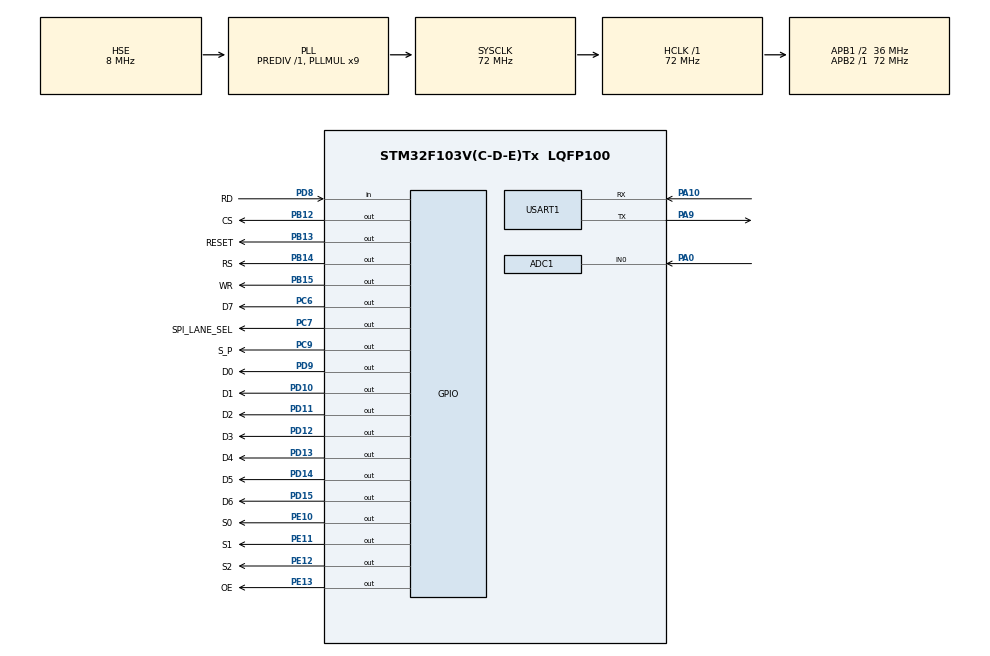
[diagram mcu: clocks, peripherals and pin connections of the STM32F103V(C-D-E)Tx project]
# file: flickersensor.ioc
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ADC1.Channel-0\#ChannelRegularConversion=ADC_CHANNEL_0
ADC1.ContinuousConvMode=DISABLE
ADC1.DataAlign=ADC_DATAALIGN_RIGHT
ADC1.DiscontinuousConvMode=DISABLE
ADC1.EnableAnalogWatchDog=false
ADC1.EnableRegularConversion=ENABLE
ADC1.ExternalTrigConv=ADC_EXTERNALTRIGCONV_T1_CC1
ADC1.InjNumberOfConversion=0
ADC1.NbrOfConversion=1
ADC1.NbrOfConversionFlag=1
ADC1.Rank-0\#ChannelRegularConversion=1
ADC1.SamplingTime-0\#ChannelRegularConversion=ADC_SAMPLETIME_1CYCLE_5
ADC1.ScanConvMode=ADC_SCAN_DISABLE
ADC1.master=1
Dma.ADC1.0.Direction=DMA_PERIPH_TO_MEMORY
Dma.ADC1.0.Instance=DMA1_Channel1
Dma.ADC1.0.MemDataAlignment=DMA_MDATAALIGN_HALFWORD
Dma.ADC1.0.MemInc=DMA_MINC_ENABLE
Dma.ADC1.0.Mode=DMA_NORMAL
Dma.ADC1.0.PeriphDataAlignment=DMA_PDATAALIGN_HALFWORD
Dma.ADC1.0.PeriphInc=DMA_PINC_DISABLE
Dma.ADC1.0.Priority=DMA_PRIORITY_LOW
Dma.Request0=ADC1
Dma.Request1=USART1_RX
Dma.USART1_RX.1.Direction=DMA_PERIPH_TO_MEMORY
Dma.USART1_RX.1.Instance=DMA1_Channel5
Dma.USART1_RX.1.MemDataAlignment=DMA_MDATAALIGN_BYTE
Dma.USART1_RX.1.MemInc=DMA_MINC_ENABLE
Dma.USART1_RX.1.Mode=DMA_NORMAL
Dma.USART1_RX.1.PeriphDataAlignment=DMA_PDATAALIGN_BYTE
Dma.USART1_RX.1.PeriphInc=DMA_PINC_DISABLE
Dma.USART1_RX.1.Priority=DMA_PRIORITY_LOW
Mcu.Family=STM32F1
Mcu.Name=STM32F103V(C-D-E)Tx
Mcu.Package=LQFP100
NVIC.DMA1_Channel1_IRQn=true\:0\:0\:true\:false\:true
NVIC.DMA1_Channel5_IRQn=true\:2\:0\:true\:false\:true
NVIC.PriorityGroup=NVIC_PRIORITYGROUP_4
NVIC.USART1_IRQn=true\:1\:0\:true\:false\:true
OSC_IN.Mode=HSE-External-Oscillator
OSC_IN.Signal=RCC_OSC_IN
OSC_OUT.Mode=HSE-External-Oscillator
OSC_OUT.Signal=RCC_OSC_OUT
PA0-WKUP.Signal=ADCx_IN0
PA10.Mode=Asynchronous
PA10.Signal=USART1_RX
PA13.Mode=Serial_Wire
PA13.Signal=SYS_JTMS-SWDIO
PA14.Mode=Serial_Wire
PA14.Signal=SYS_JTCK-SWCLK
PA8.Signal=S_TIM1_CH1
PA9.Mode=Asynchronous
PA9.Signal=USART1_TX
PB12.GPIO_Label=CS
PB12.Signal=GPIO_Output
PB13.GPIO_Label=RESET
PB13.Signal=GPIO_Output
PB14.GPIO_Label=RS
PB14.Signal=GPIO_Output
PB15.GPIO_Label=WR
PB15.Signal=GPIO_Output
PC6.GPIO_Label=D7
PC6.Signal=GPIO_Output
PC7.GPIO_Label=SPI_LANE_SEL
PC7.Signal=GPIO_Output
PC9.GPIO_Label=S_P
PC9.Signal=GPIO_Output
PD10.GPIO_Label=D1
PD10.Signal=GPIO_Output
PD11.GPIO_Label=D2
PD11.Signal=GPIO_Output
PD12.GPIO_Label=D3
PD12.Signal=GPIO_Output
PD13.GPIO_Label=D4
PD13.Signal=GPIO_Output
PD14.GPIO_Label=D5
PD14.Signal=GPIO_Output
PD15.GPIO_Label=D6
PD15.Signal=GPIO_Output
PD8.GPIO_Label=RD
PD8.GPIO_PuPd=GPIO_PULLUP
PD8.Signal=GPIO_Input
PD9.GPIO_Label=D0
PD9.Signal=GPIO_Output
PE10.GPIO_Label=S0
PE10.Signal=GPIO_Output
PE11.GPIO_Label=S1
PE11.Signal=GPIO_Output
PE12.GPIO_Label=S2
PE12.Signal=GPIO_Output
PE13.GPIO_Label=OE
PE13.Signal=GPIO_Output
ProjectManager.HeapSize=0x200
ProjectManager.StackSize=0x400
ProjectManager.TargetToolchain=MDK-ARM V5
RCC.ADCPresc=RCC_ADCPCLK2_DIV6
RCC.AHBFreq_Value=72000000
RCC.APB1CLKDivider=RCC_HCLK_DIV2
RCC.APB1Freq_Value=36000000
RCC.APB1TimFreq_Value=72000000
RCC.APB2Freq_Value=72000000
RCC.APB2TimFreq_Value=72000000
RCC.HCLKFreq_Value=72000000
RCC.PLLMUL=RCC_PLL_MUL9
RCC.PLLSourceVirtual=RCC_PLLSOURCE_HSE
RCC.SYSCLKFreq_VALUE=72000000
RCC.SYSCLKSource=RCC_SYSCLKSOURCE_PLLCLK
RCC.USBFreq_Value=72000000
SH.ADCx_IN0.0=ADC1_IN0,IN0
SH.S_TIM1_CH1.0=TIM1_CH1
TIM1.Channel-Output\ Compare1\ No\ Output=TIM_CHANNEL_1
TIM1.Period=5000
TIM1.Prescaler=71
TIM1.Pulse-Output\ Compare1\ No\ Output=2500
TIM1.TIM_MasterOutputTrigger=TIM_TRGO_OC1REF
USART1.VirtualMode=VM_ASYNC
VP_TIM1_VS_ClockSourceINT.Mode=Internal
VP_TIM1_VS_no_output1.Mode=Output Compare1 No Output
board=flickersensor

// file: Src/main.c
/**
 ******************************************************************************
 * File Name          : main.c
 * Description        : Main program body
 ******************************************************************************
 *
 * COPYRIGHT(c) 2017 STMicroelectronics
 *
 * Redistribution and use in source and binary forms, with or without modification,
 * are permitted provided that the following conditions are met:
 *   1. Redistributions of source code must retain the above copyright notice,
 *      this list of conditions and the following disclaimer.
 *   2. Redistributions in binary form must reproduce the above copyright notice,
 *      this list of conditions and the following disclaimer in the documentation
 *      and/or other materials provided with the distribution.
 *   3. Neither the name of STMicroelectronics nor the names of its contributors
 *      may be used to endorse or promote products derived from this software
 *      without specific prior written permission.
 *
 * THIS SOFTWARE IS PROVIDED BY THE COPYRIGHT HOLDERS AND CONTRIBUTORS "AS IS"
 * AND ANY EXPRESS OR IMPLIED WARRANTIES, INCLUDING, BUT NOT LIMITED TO, THE
 * IMPLIED WARRANTIES OF MERCHANTABILITY AND FITNESS FOR A PARTICULAR PURPOSE ARE
 * DISCLAIMED. IN NO EVENT SHALL THE COPYRIGHT HOLDER OR CONTRIBUTORS BE LIABLE
 * FOR ANY DIRECT, INDIRECT, INCIDENTAL, SPECIAL, EXEMPLARY, OR CONSEQUENTIAL
 * DAMAGES (INCLUDING, BUT NOT LIMITED TO, PROCUREMENT OF SUBSTITUTE GOODS OR
 * SERVICES; LOSS OF USE, DATA, OR PROFITS; OR BUSINESS INTERRUPTION) HOWEVER
 * CAUSED AND ON ANY THEORY OF LIABILITY, WHETHER IN CONTRACT, STRICT LIABILITY,
 * OR TORT (INCLUDING NEGLIGENCE OR OTHERWISE) ARISING IN ANY WAY OUT OF THE USE
 * OF THIS SOFTWARE, EVEN IF ADVISED OF THE POSSIBILITY OF SUCH DAMAGE.
 *
 ******************************************************************************
 */
#include "main.h"
#include "stm32f1xx_hal.h"

/* USER CODE BEGIN Includes */
#include "acquire.h"
#include "sysconfig.h"
#include "flicker.h"
#include "lcd.h"
#include "stdio.h"
#include "string.h"
#include "math.h"
#include "com.h"
/* USER CODE END Includes */

ADC_HandleTypeDef hadc1;
DMA_HandleTypeDef hdma_adc1;

TIM_HandleTypeDef htim1;

UART_HandleTypeDef huart1;
DMA_HandleTypeDef hdma_usart1_rx;

/* USER CODE BEGIN PV */
/* Private variables ---------------------------------------------------------*/

/* USER CODE END PV */

void SystemClock_Config(void);
void Error_Handler(void);
static void MX_GPIO_Init(void);
static void MX_DMA_Init(void);
static void MX_USART1_UART_Init(void);
static void MX_ADC1_Init(void);
static void MX_TIM1_Init(void);

/* USER CODE BEGIN PFP */
/* Private function prototypes -----------------------------------------------*/
#define  LIGHT_STEEL_BLUE    46651
#define  DEEP_SKY_BLUE       1535
#define  MINERAL_BLUE        627
#define  SKY_BLUE            34429
#define  DARK_CYAN           1105

/* USER CODE END PFP */

/* USER CODE BEGIN 0 */
static uint8_t ChannelIndex = 7;
static uint8_t TimeToSend   = 0;

/* USER CODE END 0 */

int main(void)
{
  /* USER CODE BEGIN 1 */
  char buff[20];
  float flicker_value = 0;
  float last_value    = 1;
  float log_flicker;

  /* USER CODE END 1 */

  /* MCU Configuration----------------------------------------------------------*/

  /* Reset of all peripherals, Initializes the Flash interface and the Systick. */
  HAL_Init();

  /* Configure the system clock */
  SystemClock_Config();

  /* Initialize all configured peripherals */
  MX_GPIO_Init();
  MX_DMA_Init();
  MX_USART1_UART_Init();
  MX_ADC1_Init();
  MX_TIM1_Init();

  /* USER CODE BEGIN 2 */
  LCD_Init();
  BackColor = DARK_CYAN;
  LCD_WriteFull(DARK_CYAN);//0x5D7A

  FontColor = 0xffff;

  LCD_ShowChar2(100, 5, '%');
  LCD_ShowString2(90, 36, "dB");

  FontColor = DEEP_SKY_BLUE;
  LCD_Fill(0, 4);
  LCD_Fill(70, 75);
  LCD_Fill(LCD_YSIZE - 5, LCD_YSIZE);

  FontColor = DARK_CYAN;
  LCD_Fill(76, LCD_YSIZE - 4);

  FontColor = SKY_BLUE;
  LCD_DrawLine(0, 4, LCD_XSIZE, 4);
  LCD_DrawLine(0, 70, LCD_XSIZE, 70);
  LCD_DrawLine(0, 75, LCD_XSIZE, 75);
  LCD_DrawLine(0, LCD_XSIZE - 5, LCD_XSIZE, LCD_XSIZE - 5);

  FontColor = 0xffff;
  LCD_ShowString(4, 79, "VCOM:", 12);
  LCD_ShowString(4, 94, "ID:", 12);
  LCD_ShowString(4, 108, "Times:", 12);

  FontColor = 0xffe0;
  if (CheckSecurity() == false)
  {
    FontColor = BackColor;
    while (1)
    {
    }
  }

  if (HAL_UART_Receive_DMA(&huart1, RXTemp, BUFFER_SIZE) != HAL_OK)
  {
    while (1)
    {
    }
  }

  SelChannel(ChannelIndex);
  AcquireStart();
  /* USER CODE END 2 */

  /* Infinite loop */
  /* USER CODE BEGIN WHILE */
  while (1)
  {
    if (DataReady)
    {
      flicker_value = GetFlickerValue(Buffer0, SAMPLE_SIZE);
      if (flicker_value == (float)OVERFLOW_ERROR)
      {
        if (ChannelIndex != 0)
        {
          ChannelIndex--;
        }
        last_value = flicker_value;
      }
      else if (flicker_value == (float)DC_ERROR)
      {
        if (ChannelIndex != 7)
        {
          ChannelIndex++;
        }
        last_value = flicker_value;
      }
      else
      {
        flicker_value *= 1.3;//calibrate
        if(TimeToSend>1)
        {
          SendFlicker((uint16_t)(flicker_value * 1000));
          TimeToSend = 0;
        }
      }
      SelChannel(ChannelIndex);
      DataReady = 0;
      AcquireStart();
    }
    else if ((flicker_value != last_value)&&(TimeToSend==0))
    {
      uint8_t len;

      last_value = flicker_value;

      memset(buff, 0, sizeof(buff));
      sprintf(buff, "%.1f ", (float)flicker_value * 100);
      len = strlen(buff);
      while (len < 5)
      {
        buff[len++] = ' ';
      }
      LCD_ShowString2(4, 5, (uint8_t *)buff);

      log_flicker = 20 * log10((float)flicker_value);

      memset(buff, 0, sizeof(buff));
      sprintf(buff, "%.1f", log_flicker);
      len = strlen(buff);
      while (len < 5)
      {
        buff[len++] = ' ';
      }
      LCD_ShowString2(4, 36, (uint8_t *)buff);
    }

    if (TaskID != TASK_NULL)
    {
      if (TaskID == FLICKER_VALUE)
      {
        TimeToSend++;
      }
      else
      {
        LCD_ShowString(64, 79, "    ", 12);
        LCD_ShowString(64, 94, "    ", 12);
        LCD_ShowString(64, 108, "    ", 12);

        memset(buff, 0, sizeof(buff));
        sprintf(buff, "0x%X", VCOM);
        LCD_ShowString(64, 79, (uint8_t *)buff, 12);
        sprintf(buff, "0x%X", ID);
        LCD_ShowString(64, 94, (uint8_t *)buff, 12);
        sprintf(buff, "%d", Times);
        LCD_ShowString(64, 108, (uint8_t *)buff, 12);
      }
      TaskID = TASK_NULL;
    }
    /* USER CODE END WHILE */

  }
}

/** System Clock Configuration
 */
void SystemClock_Config(void)
{
  RCC_OscInitTypeDef RCC_OscInitStruct;
  RCC_ClkInitTypeDef RCC_ClkInitStruct;
  RCC_PeriphCLKInitTypeDef PeriphClkInit;

  /**Initializes the CPU, AHB and APB busses clocks
   */
  RCC_OscInitStruct.OscillatorType = RCC_OSCILLATORTYPE_HSE;
  RCC_OscInitStruct.HSEState       = RCC_HSE_ON;
  RCC_OscInitStruct.HSEPredivValue = RCC_HSE_PREDIV_DIV1;
  RCC_OscInitStruct.HSIState       = RCC_HSI_ON;
  RCC_OscInitStruct.PLL.PLLState   = RCC_PLL_ON;
  RCC_OscInitStruct.PLL.PLLSource  = RCC_PLLSOURCE_HSE;
  RCC_OscInitStruct.PLL.PLLMUL     = RCC_PLL_MUL9;
  if (HAL_RCC_OscConfig(&RCC_OscInitStruct) != HAL_OK)
  {
    Error_Handler();
  }

  /**Initializes the CPU, AHB and APB busses clocks
   */
  RCC_ClkInitStruct.ClockType      = RCC_CLOCKTYPE_HCLK | RCC_CLOCKTYPE_SYSCLK | RCC_CLOCKTYPE_PCLK1 | RCC_CLOCKTYPE_PCLK2;
  RCC_ClkInitStruct.SYSCLKSource   = RCC_SYSCLKSOURCE_PLLCLK;
  RCC_ClkInitStruct.AHBCLKDivider  = RCC_SYSCLK_DIV1;
  RCC_ClkInitStruct.APB1CLKDivider = RCC_HCLK_DIV2;
  RCC_ClkInitStruct.APB2CLKDivider = RCC_HCLK_DIV1;

  if (HAL_RCC_ClockConfig(&RCC_ClkInitStruct, FLASH_LATENCY_2) != HAL_OK)
  {
    Error_Handler();
  }

  PeriphClkInit.PeriphClockSelection = RCC_PERIPHCLK_ADC;
  PeriphClkInit.AdcClockSelection    = RCC_ADCPCLK2_DIV6;
  if (HAL_RCCEx_PeriphCLKConfig(&PeriphClkInit) != HAL_OK)
  {
    Error_Handler();
  }

  /**Configure the Systick interrupt time
   */
  HAL_SYSTICK_Config(HAL_RCC_GetHCLKFreq() / 1000);

  /**Configure the Systick
   */
  HAL_SYSTICK_CLKSourceConfig(SYSTICK_CLKSOURCE_HCLK);

  /* SysTick_IRQn interrupt configuration */
  HAL_NVIC_SetPriority(SysTick_IRQn, 0, 0);
}

/* ADC1 init function */
static void MX_ADC1_Init(void)
{
  ADC_ChannelConfTypeDef sConfig;

  /**Common config
   */
  hadc1.Instance                   = ADC1;
  hadc1.Init.ScanConvMode          = ADC_SCAN_DISABLE;
  hadc1.Init.ContinuousConvMode    = DISABLE;
  hadc1.Init.DiscontinuousConvMode = DISABLE;
  hadc1.Init.ExternalTrigConv      = ADC_EXTERNALTRIGCONV_T1_CC1;
  hadc1.Init.DataAlign             = ADC_DATAALIGN_RIGHT;
  hadc1.Init.NbrOfConversion       = 1;
  if (HAL_ADC_Init(&hadc1) != HAL_OK)
  {
    Error_Handler();
  }

  /**Configure Regular Channel
   */
  sConfig.Channel      = ADC_CHANNEL_0;
  sConfig.Rank         = 1;
  sConfig.SamplingTime = ADC_SAMPLETIME_1CYCLE_5;
  if (HAL_ADC_ConfigChannel(&hadc1, &sConfig) != HAL_OK)
  {
    Error_Handler();
  }
}

/* TIM1 init function */
static void MX_TIM1_Init(void)
{
  TIM_ClockConfigTypeDef sClockSourceConfig;
  TIM_MasterConfigTypeDef sMasterConfig;
  TIM_OC_InitTypeDef sConfigOC;
  TIM_BreakDeadTimeConfigTypeDef sBreakDeadTimeConfig;

  htim1.Instance               = TIM1;
  htim1.Init.Prescaler         = 72 - 1;
  htim1.Init.CounterMode       = TIM_COUNTERMODE_UP;
  htim1.Init.Period            = 1000;
  htim1.Init.ClockDivision     = TIM_CLOCKDIVISION_DIV1;
  htim1.Init.RepetitionCounter = 0;
  if (HAL_TIM_Base_Init(&htim1) != HAL_OK)
  {
    Error_Handler();
  }

  sClockSourceConfig.ClockSource = TIM_CLOCKSOURCE_INTERNAL;
  if (HAL_TIM_ConfigClockSource(&htim1, &sClockSourceConfig) != HAL_OK)
  {
    Error_Handler();
  }

  if (HAL_TIM_OC_Init(&htim1) != HAL_OK)
  {
    Error_Handler();
  }

  sMasterConfig.MasterOutputTrigger = TIM_TRGO_OC1REF;
  sMasterConfig.MasterSlaveMode     = TIM_MASTERSLAVEMODE_DISABLE;
  if (HAL_TIMEx_MasterConfigSynchronization(&htim1, &sMasterConfig) != HAL_OK)
  {
    Error_Handler();
  }

  sConfigOC.OCMode       = TIM_OCMODE_PWM1;
  sConfigOC.Pulse        = 500;
  sConfigOC.OCPolarity   = TIM_OCPOLARITY_HIGH;
  sConfigOC.OCNPolarity  = TIM_OCNPOLARITY_HIGH;
  sConfigOC.OCFastMode   = TIM_OCFAST_DISABLE;
  sConfigOC.OCIdleState  = TIM_OCIDLESTATE_RESET;
  sConfigOC.OCNIdleState = TIM_OCNIDLESTATE_RESET;
  if (HAL_TIM_OC_ConfigChannel(&htim1, &sConfigOC, TIM_CHANNEL_1) != HAL_OK)
  {
    Error_Handler();
  }

  sBreakDeadTimeConfig.OffStateRunMode  = TIM_OSSR_DISABLE;
  sBreakDeadTimeConfig.OffStateIDLEMode = TIM_OSSI_DISABLE;
  sBreakDeadTimeConfig.LockLevel        = TIM_LOCKLEVEL_OFF;
  sBreakDeadTimeConfig.DeadTime         = 0;
  sBreakDeadTimeConfig.BreakState       = TIM_BREAK_DISABLE;
  sBreakDeadTimeConfig.BreakPolarity    = TIM_BREAKPOLARITY_HIGH;
  sBreakDeadTimeConfig.AutomaticOutput  = TIM_AUTOMATICOUTPUT_DISABLE;
  if (HAL_TIMEx_ConfigBreakDeadTime(&htim1, &sBreakDeadTimeConfig) != HAL_OK)
  {
    Error_Handler();
  }
}

/* USART1 init function */
static void MX_USART1_UART_Init(void)
{
  huart1.Instance          = USART1;
  huart1.Init.BaudRate     = 115200;
  huart1.Init.WordLength   = UART_WORDLENGTH_8B;
  huart1.Init.StopBits     = UART_STOPBITS_1;
  huart1.Init.Parity       = UART_PARITY_NONE;
  huart1.Init.Mode         = UART_MODE_TX_RX;
  huart1.Init.HwFlowCtl    = UART_HWCONTROL_NONE;
  huart1.Init.OverSampling = UART_OVERSAMPLING_16;
  if (HAL_UART_Init(&huart1) != HAL_OK)
  {
    Error_Handler();
  }
}

static void MX_DMA_Init(void)
{
  /* DMA controller clock enable */
  __HAL_RCC_DMA1_CLK_ENABLE();

  /* DMA interrupt init */
  /* DMA1_Channel1_IRQn interrupt configuration */
  HAL_NVIC_SetPriority(DMA1_Channel1_IRQn, 0, 0);
  HAL_NVIC_EnableIRQ(DMA1_Channel1_IRQn);
  /* DMA1_Channel5_IRQn interrupt configuration */
  HAL_NVIC_SetPriority(DMA1_Channel5_IRQn, 2, 0);
  HAL_NVIC_EnableIRQ(DMA1_Channel5_IRQn);
}

/** Configure pins as
 * Analog
 * Input
 * Output
 * EVENT_OUT
 * EXTI
 */
static void MX_GPIO_Init(void)
{
  GPIO_InitTypeDef GPIO_InitStruct;

  /* GPIO Ports Clock Enable */
  __HAL_RCC_GPIOA_CLK_ENABLE();
  __HAL_RCC_GPIOE_CLK_ENABLE();
  __HAL_RCC_GPIOB_CLK_ENABLE();
  __HAL_RCC_GPIOD_CLK_ENABLE();
  __HAL_RCC_GPIOC_CLK_ENABLE();

  /*Configure GPIO pin Output Level */
  HAL_GPIO_WritePin(GPIOE, S0_Pin | S1_Pin | S2_Pin | OE_Pin, GPIO_PIN_RESET);

  /*Configure GPIO pin Output Level */
  HAL_GPIO_WritePin(GPIOB, CS_Pin | RESET_Pin | RS_Pin | WR_Pin, GPIO_PIN_RESET);

  /*Configure GPIO pin Output Level */
  HAL_GPIO_WritePin(GPIOD, D0_Pin | D1_Pin | D2_Pin | D3_Pin | D4_Pin | D5_Pin | D6_Pin, GPIO_PIN_RESET);

  /*Configure GPIO pin Output Level */
  HAL_GPIO_WritePin(GPIOC, D7_Pin | SPI_LANE_SEL_Pin | S_P_Pin, GPIO_PIN_RESET);

  /*Configure GPIO pins : S0_Pin S1_Pin S2_Pin OE_Pin */
  GPIO_InitStruct.Pin   = S0_Pin | S1_Pin | S2_Pin | OE_Pin;
  GPIO_InitStruct.Mode  = GPIO_MODE_OUTPUT_PP;
  GPIO_InitStruct.Speed = GPIO_SPEED_FREQ_LOW;
  HAL_GPIO_Init(GPIOE, &GPIO_InitStruct);

  /*Configure GPIO pins : CS_Pin RESET_Pin RS_Pin WR_Pin */
  GPIO_InitStruct.Pin   = CS_Pin | RESET_Pin | RS_Pin | WR_Pin;
  GPIO_InitStruct.Mode  = GPIO_MODE_OUTPUT_PP;
  GPIO_InitStruct.Speed = GPIO_SPEED_FREQ_HIGH;
  HAL_GPIO_Init(GPIOB, &GPIO_InitStruct);

  /*Configure GPIO pin : RD_Pin */
  // GPIO_InitStruct.Pin = RD_Pin;
  // GPIO_InitStruct.Mode = GPIO_MODE_INPUT;
  // GPIO_InitStruct.Pull = GPIO_PULLUP;
  // HAL_GPIO_Init(RD_GPIO_Port, &GPIO_InitStruct);

  /*Configure GPIO pins : D0_Pin D1_Pin D2_Pin D3_Pin
   *                       D4_Pin D5_Pin D6_Pin */
  GPIO_InitStruct.Pin   = D0_Pin | D1_Pin | D2_Pin | D3_Pin | D4_Pin | D5_Pin | D6_Pin | RD_Pin;
  GPIO_InitStruct.Mode  = GPIO_MODE_OUTPUT_PP;
  GPIO_InitStruct.Speed = GPIO_SPEED_FREQ_HIGH;
  HAL_GPIO_Init(GPIOD, &GPIO_InitStruct);

  /*Configure GPIO pins : D7_Pin SPI_LANE_SEL_Pin S_P_Pin */
  GPIO_InitStruct.Pin   = D7_Pin | SPI_LANE_SEL_Pin | S_P_Pin;
  GPIO_InitStruct.Mode  = GPIO_MODE_OUTPUT_PP;
  GPIO_InitStruct.Speed = GPIO_SPEED_FREQ_HIGH;
  HAL_GPIO_Init(GPIOC, &GPIO_InitStruct);
}

void Error_Handler(void)
{
  while (1)
  {
  }
}

#ifdef USE_FULL_ASSERT

/**
 * @brief Reports the name of the source file and the source line number
 * where the assert_param error has occurred.
 * @param file: pointer to the source file name
 * @param line: assert_param error line source number
 * @retval None
 */
void assert_failed(uint8_t *file, uint32_t line)
{
  /* USER CODE BEGIN 6 */

  /* User can add his own implementation to report the file name and line number,
   * ex: printf("Wrong parameters value: file %s on line %d\r\n", file, line) */
  /* USER CODE END 6 */
}
#endif

/************************ (C) COPYRIGHT STMicroelectronics *****END OF FILE****/
